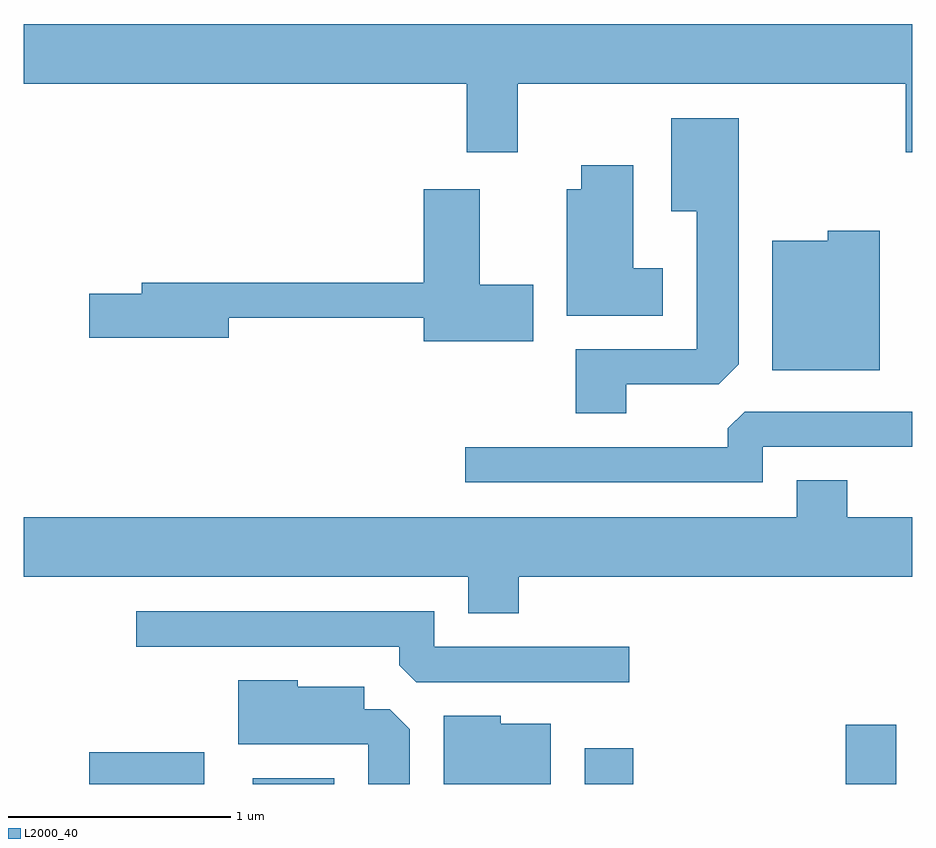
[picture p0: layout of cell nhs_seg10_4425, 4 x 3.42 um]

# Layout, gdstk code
import gdstk
lib = gdstk.Library(unit=1e-6, precision=1e-09)
def R(c, l, rs):  # rectangles x0, y0, x1, y1
    for r in rs: c.add(gdstk.rectangle(r[:2], r[2:], *l))
def P(c, l, *ps):  # polygons
    for p in ps: c.add(gdstk.Polygon(p, *l))
L2000_40 = (2000, 40)

nhs_seg10_4425 = lib.new_cell('nhs_seg10_4425')
R(nhs_seg10_4425, L2000_40, [(315.906,2128.522,316.424,2128.664), (316.641,2128.522,317.009,2128.549), (318.136,2128.522,318.354,2128.684), (319.311,2128.522,319.539,2128.789)])
P(nhs_seg10_4425, L2000_40, [(317.834,2131.676),(319.581,2131.676),(319.581,2131.366),(319.611,2131.366),(319.611,2131.944),(315.611,2131.944),(315.611,2131.676),(317.606,2131.676),(317.606,2131.366),(317.834,2131.366)],
  [(318.324,2130.321),(318.739,2130.321),(318.829,2130.412),(318.829,2131.519),(318.526,2131.519),(318.526,2131.101),(318.641,2131.101),(318.641,2130.479),(318.096,2130.479),(318.096,2130.191),(318.324,2130.191)],
  [(318.489,2130.844),(318.354,2130.844),(318.354,2131.309),(318.121,2131.309),(318.121,2131.199),(318.056,2131.199),(318.056,2130.631),(318.489,2130.631)],
  [(317.904,2130.769),(317.664,2130.769),(317.664,2131.199),(317.411,2131.199),(317.411,2130.779),(316.141,2130.779),(316.141,2130.729),(315.906,2130.729),(315.906,2130.531),(316.534,2130.531),(316.534,2130.621),(317.411,2130.621),(317.411,2130.516),(317.904,2130.516)],
  [(319.464,2131.014),(319.231,2131.014),(319.231,2130.969),(318.981,2130.969),(318.981,2130.386),(319.464,2130.386)],
  [(318.939,2130.041),(319.611,2130.041),(319.611,2130.199),(318.857,2130.199),(318.781,2130.124),(318.781,2130.039),(317.598,2130.039),(317.598,2129.881),(318.939,2129.881)],
  [(317.839,2129.456),(319.611,2129.456),(319.611,2129.724),(319.319,2129.724),(319.319,2129.889),(319.091,2129.889),(319.091,2129.724),(315.611,2129.724),(315.611,2129.456),(317.611,2129.456),(317.611,2129.291),(317.839,2129.291)],
  [(318.338,2129.139),(317.459,2129.139),(317.459,2129.299),(316.118,2129.299),(316.118,2129.141),(317.301,2129.141),(317.301,2129.057),(317.377,2128.981),(318.338,2128.981)],
  [(317.349,2128.769),(317.259,2128.859),(317.144,2128.859),(317.144,2128.959),(316.844,2128.959),(316.844,2128.989),(316.576,2128.989),(316.576,2128.701),(317.161,2128.701),(317.161,2128.522),(317.349,2128.522)],
  [(317.984,2128.794),(317.759,2128.794),(317.759,2128.829),(317.501,2128.829),(317.501,2128.522),(317.984,2128.522)])

lib.write_gds('nhs_seg10_4425.gds')
